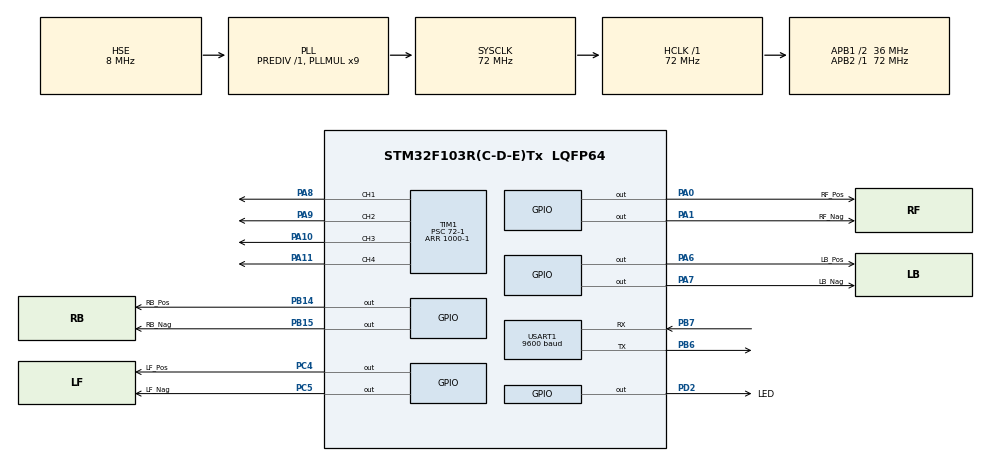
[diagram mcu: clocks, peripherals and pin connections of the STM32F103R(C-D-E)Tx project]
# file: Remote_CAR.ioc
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Mcu.Family=STM32F1
Mcu.Name=STM32F103R(C-D-E)Tx
Mcu.Package=LQFP64
NVIC.PriorityGroup=NVIC_PRIORITYGROUP_4
PA0-WKUP.GPIO_Label=RF_Pos
PA0-WKUP.Signal=GPIO_Output
PA1.GPIO_Label=RF_Nag
PA1.Signal=GPIO_Output
PA10.Signal=S_TIM1_CH3
PA11.Signal=S_TIM1_CH4
PA6.GPIO_Label=LB_Pos
PA6.Signal=GPIO_Output
PA7.GPIO_Label=LB_Nag
PA7.Signal=GPIO_Output
PA8.Signal=S_TIM1_CH1
PA9.Signal=S_TIM1_CH2
PB14.GPIO_Label=RB_Pos
PB14.Signal=GPIO_Output
PB15.GPIO_Label=RB_Nag
PB15.Signal=GPIO_Output
PB6.Mode=Asynchronous
PB6.Signal=USART1_TX
PB7.Mode=Asynchronous
PB7.Signal=USART1_RX
PC4.GPIO_Label=LF_Pos
PC4.Signal=GPIO_Output
PC5.GPIO_Label=LF_Nag
PC5.Signal=GPIO_Output
PD0-OSC_IN.Mode=HSE-External-Oscillator
PD0-OSC_IN.Signal=RCC_OSC_IN
PD1-OSC_OUT.Mode=HSE-External-Oscillator
PD1-OSC_OUT.Signal=RCC_OSC_OUT
PD2.GPIO_Label=LED
PD2.Signal=GPIO_Output
ProjectManager.HeapSize=0x200
ProjectManager.StackSize=0x400
ProjectManager.TargetToolchain=STM32CubeIDE
RCC.AHBFreq_Value=72000000
RCC.APB1CLKDivider=RCC_HCLK_DIV2
RCC.APB1Freq_Value=36000000
RCC.APB1TimFreq_Value=72000000
RCC.APB2Freq_Value=72000000
RCC.APB2TimFreq_Value=72000000
RCC.HCLKFreq_Value=72000000
RCC.PLLMUL=RCC_PLL_MUL9
RCC.PLLSourceVirtual=RCC_PLLSOURCE_HSE
RCC.SYSCLKFreq_VALUE=72000000
RCC.SYSCLKSource=RCC_SYSCLKSOURCE_PLLCLK
RCC.USBFreq_Value=72000000
SH.S_TIM1_CH1.0=TIM1_CH1,PWM Generation1 CH1
SH.S_TIM1_CH2.0=TIM1_CH2,PWM Generation2 CH2
SH.S_TIM1_CH3.0=TIM1_CH3,PWM Generation3 CH3
SH.S_TIM1_CH4.0=TIM1_CH4,PWM Generation4 CH4
TIM1.Channel-PWM\ Generation1\ CH1=TIM_CHANNEL_1
TIM1.Channel-PWM\ Generation2\ CH2=TIM_CHANNEL_2
TIM1.Channel-PWM\ Generation3\ CH3=TIM_CHANNEL_3
TIM1.Channel-PWM\ Generation4\ CH4=TIM_CHANNEL_4
TIM1.Period=1000-1
TIM1.Prescaler=72-1
TIM1.Pulse-PWM\ Generation1\ CH1=500
TIM1.Pulse-PWM\ Generation2\ CH2=500
TIM1.Pulse-PWM\ Generation3\ CH3=500
TIM1.Pulse-PWM\ Generation4\ CH4=500
USART1.BaudRate=9600
USART1.VirtualMode=VM_ASYNC
VP_SYS_VS_ND.Mode=No_Debug
board=custom

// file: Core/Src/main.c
/* USER CODE BEGIN Header */
/**
  ******************************************************************************
  * @file           : main.c
  * @brief          : Main program body
  ******************************************************************************
  * @attention
  *
  * <h2><center>&copy; Copyright (c) 2021 STMicroelectronics.
  * All rights reserved.</center></h2>
  *
  * This software component is licensed by ST under BSD 3-Clause license,
  * the "License"; You may not use this file except in compliance with the
  * License. You may obtain a copy of the License at:
  *                        opensource.org/licenses/BSD-3-Clause
  *
  ******************************************************************************
  */
/* USER CODE END Header */
#include "main.h"

TIM_HandleTypeDef htim1;

UART_HandleTypeDef huart1;

void SystemClock_Config(void);
static void MX_GPIO_Init(void);
static void MX_TIM1_Init(void);
static void MX_USART1_UART_Init(void);

int main(void)
{
  /* USER CODE BEGIN 1 */
	uint8_t Signal, i, Forward_ON;
	uint16_t PWM[4];

  /* USER CODE END 1 */

  /* MCU Configuration--------------------------------------------------------*/

  /* Reset of all peripherals, Initializes the Flash interface and the Systick. */
  HAL_Init();

  /* Configure the system clock */
  SystemClock_Config();

  /* Initialize all configured peripherals */
  MX_GPIO_Init();
  MX_TIM1_Init();
  MX_USART1_UART_Init();
  /* USER CODE BEGIN 2 */

  Forward_ON = 1;

  HAL_GPIO_WritePin(RF_Pos_GPIO_Port, RF_Pos_Pin, 0);
  HAL_GPIO_WritePin(RF_Nag_GPIO_Port, RF_Nag_Pin, 0);
  HAL_GPIO_WritePin(LF_Pos_GPIO_Port, LF_Pos_Pin, 0);
  HAL_GPIO_WritePin(LF_Nag_GPIO_Port, LF_Nag_Pin, 0);
  HAL_GPIO_WritePin(RB_Pos_GPIO_Port, RB_Pos_Pin, 0);
  HAL_GPIO_WritePin(RB_Nag_GPIO_Port, RB_Nag_Pin, 0);
  HAL_GPIO_WritePin(LB_Pos_GPIO_Port, LB_Pos_Pin, 0);
  HAL_GPIO_WritePin(LB_Nag_GPIO_Port, LB_Nag_Pin, 0);

  HAL_TIM_PWM_Start(&htim1, TIM_CHANNEL_1);
  HAL_TIM_PWM_Start(&htim1, TIM_CHANNEL_2);
  HAL_TIM_PWM_Start(&htim1, TIM_CHANNEL_3);
  HAL_TIM_PWM_Start(&htim1, TIM_CHANNEL_4);

  PWM[0] = PWM[1] = PWM[2] = PWM[3] = 0;

  HAL_UART_Transmit(&huart1, "I am ok\r\n", 9, 100);

  /* USER CODE END 2 */

  /* Infinite loop */
  while (1)
  {

    /* USER CODE BEGIN 3 */
//	  HAL_GPIO_WritePin(LF_Nag_GPIO_Port, LF_Nag_Pin, 1);

	  HAL_Delay(5);
	  __HAL_TIM_SET_COMPARE(&htim1, TIM_CHANNEL_1, PWM[0]);
	  __HAL_TIM_SET_COMPARE(&htim1, TIM_CHANNEL_2, PWM[1]);
	  __HAL_TIM_SET_COMPARE(&htim1, TIM_CHANNEL_3, PWM[2]);
	  __HAL_TIM_SET_COMPARE(&htim1, TIM_CHANNEL_4, PWM[3]);

//	  HAL_GPIO_TogglePin(LED_GPIO_Port, LED_Pin);
//	  HAL_Delay(1000);

	  if(HAL_UART_Receive(&huart1, &Signal, 1, HAL_MAX_DELAY) == HAL_OK)
	  {
		  HAL_UART_Transmit(&huart1, &Signal, 1, HAL_MAX_DELAY);

		  /*Forward*/
		  if(Signal == 70)
		  {
			  HAL_GPIO_WritePin(RF_Pos_GPIO_Port, RF_Pos_Pin, 0);
			  HAL_GPIO_WritePin(RF_Nag_GPIO_Port, RF_Nag_Pin, 1);
			  HAL_GPIO_WritePin(LF_Pos_GPIO_Port, LF_Pos_Pin, 0);
			  HAL_GPIO_WritePin(LF_Nag_GPIO_Port, LF_Nag_Pin, 1);
			  HAL_GPIO_WritePin(RB_Pos_GPIO_Port, RB_Pos_Pin, 0);
			  HAL_GPIO_WritePin(RB_Nag_GPIO_Port, RB_Nag_Pin, 1);
			  HAL_GPIO_WritePin(LB_Pos_GPIO_Port, LB_Pos_Pin, 0);
			  HAL_GPIO_WritePin(LB_Nag_GPIO_Port, LB_Nag_Pin, 1);

			  Forward_ON = 2;
		  }

		  /*Back*/
		  else if(Signal == 66)
		  {
			  Forward_ON = 0;
			  for(i = 0; i < 4; i++)
			  {
				  PWM[i] = 500;
			  }
			  HAL_GPIO_WritePin(RF_Pos_GPIO_Port, RF_Pos_Pin, 1);
			  HAL_GPIO_WritePin(RF_Nag_GPIO_Port, RF_Nag_Pin, 0);
			  HAL_GPIO_WritePin(LF_Pos_GPIO_Port, LF_Pos_Pin, 1);
			  HAL_GPIO_WritePin(LF_Nag_GPIO_Port, LF_Nag_Pin, 0);
			  HAL_GPIO_WritePin(RB_Pos_GPIO_Port, RB_Pos_Pin, 1);
			  HAL_GPIO_WritePin(RB_Nag_GPIO_Port, RB_Nag_Pin, 0);
			  HAL_GPIO_WritePin(LB_Pos_GPIO_Port, LB_Pos_Pin, 1);
			  HAL_GPIO_WritePin(LB_Nag_GPIO_Port, LB_Nag_Pin, 0);

		  }

		  /*Left*/
		  else if(Signal == 76)
		  {
			  Forward_ON = 1;
			  HAL_GPIO_WritePin(RF_Pos_GPIO_Port, RF_Pos_Pin, 0);
			  HAL_GPIO_WritePin(RF_Nag_GPIO_Port, RF_Nag_Pin, 1);
			  HAL_GPIO_WritePin(LF_Pos_GPIO_Port, RF_Pos_Pin, 0);
			  HAL_GPIO_WritePin(LF_Nag_GPIO_Port, RF_Nag_Pin, 1);
			  HAL_GPIO_WritePin(RB_Pos_GPIO_Port, RB_Pos_Pin, 0);
			  HAL_GPIO_WritePin(RB_Nag_GPIO_Port, RB_Nag_Pin, 1);
			  HAL_GPIO_WritePin(LB_Pos_GPIO_Port, LB_Pos_Pin, 0);
			  HAL_GPIO_WritePin(LB_Nag_GPIO_Port, LB_Nag_Pin, 1);

			  PWM[0] = PWM[3] = 900;
			  PWM[1] = PWM[2] = 400;
		  }

		  /*Right*/
		  else if(Signal == 82)
		  {
			  Forward_ON = 1;
			  HAL_GPIO_WritePin(RF_Pos_GPIO_Port, RF_Pos_Pin, 0);
			  HAL_GPIO_WritePin(RF_Nag_GPIO_Port, RF_Nag_Pin, 1);
			  HAL_GPIO_WritePin(LF_Pos_GPIO_Port, LF_Pos_Pin, 0);
			  HAL_GPIO_WritePin(LF_Nag_GPIO_Port, LF_Nag_Pin, 1);
			  HAL_GPIO_WritePin(RB_Pos_GPIO_Port, RB_Pos_Pin, 0);
			  HAL_GPIO_WritePin(RB_Nag_GPIO_Port, RB_Nag_Pin, 1);
			  HAL_GPIO_WritePin(LB_Pos_GPIO_Port, LB_Pos_Pin, 0);
			  HAL_GPIO_WritePin(LB_Nag_GPIO_Port, LB_Nag_Pin, 1);

			  PWM[0] = PWM[3] = 400;
			  PWM[1] = PWM[2] = 900;
		  }

		  else if(Signal == 80)
		  {
			  Forward_ON = 1;
			  HAL_GPIO_WritePin(RF_Pos_GPIO_Port, RF_Pos_Pin, 0);
			  HAL_GPIO_WritePin(RF_Nag_GPIO_Port, RF_Nag_Pin, 0);
			  HAL_GPIO_WritePin(LF_Pos_GPIO_Port, LF_Pos_Pin, 0);
			  HAL_GPIO_WritePin(LF_Nag_GPIO_Port, LF_Nag_Pin, 0);
			  HAL_GPIO_WritePin(RB_Pos_GPIO_Port, RB_Pos_Pin, 0);
			  HAL_GPIO_WritePin(RB_Nag_GPIO_Port, RB_Nag_Pin, 0);
			  HAL_GPIO_WritePin(LB_Pos_GPIO_Port, LB_Pos_Pin, 0);
			  HAL_GPIO_WritePin(LB_Nag_GPIO_Port, LB_Nag_Pin, 0);
		  }

		  else if(Signal == 49)
		  {
			  for(i = 0; i < 4; i++)
			  {
				  PWM[i] = 500;
			  }
		  }

		  else if(Signal == 50)
		  {
			  if(Forward_ON == 2)
			  {
				  for(i = 0; i < 4; i++)
				  {
					  PWM[i] = 600;
				  }
			  }
		  }

		  else if(Signal == 51)
		  {
			  if(Forward_ON == 2)
			  {
				  for(i = 0; i < 4; i++)
				  {
					  PWM[i] = 700;
				  }
			  }
		  }

		  else if(Signal == 52)
		  {
			  if(Forward_ON == 2)
			  {
				  for(i = 0; i < 4; i++)
				  {
					  PWM[i] = 800;
				  }
			  }
		  }

		  else if(Signal == 53)
		  {
			  if(Forward_ON == 2)
			  {
				  for(i = 0; i < 4; i++)
				  {
					  PWM[i] = 900;
				  }
			  }
		  }

		  else if(Signal == 54)
		  {
			  if(Forward_ON == 2)
			  {
				  for(i = 0; i < 4; i++)
				  {
					  PWM[i] = 999;
				  }
			  }
		  }

	  }

  }
  /* USER CODE END 3 */
}

void SystemClock_Config(void)
{
  RCC_OscInitTypeDef RCC_OscInitStruct = {0};
  RCC_ClkInitTypeDef RCC_ClkInitStruct = {0};

  /** Initializes the RCC Oscillators according to the specified parameters
  * in the RCC_OscInitTypeDef structure.
  */
  RCC_OscInitStruct.OscillatorType = RCC_OSCILLATORTYPE_HSE;
  RCC_OscInitStruct.HSEState = RCC_HSE_ON;
  RCC_OscInitStruct.HSEPredivValue = RCC_HSE_PREDIV_DIV1;
  RCC_OscInitStruct.HSIState = RCC_HSI_ON;
  RCC_OscInitStruct.PLL.PLLState = RCC_PLL_ON;
  RCC_OscInitStruct.PLL.PLLSource = RCC_PLLSOURCE_HSE;
  RCC_OscInitStruct.PLL.PLLMUL = RCC_PLL_MUL9;
  if (HAL_RCC_OscConfig(&RCC_OscInitStruct) != HAL_OK)
  {
    Error_Handler();
  }
  /** Initializes the CPU, AHB and APB buses clocks
  */
  RCC_ClkInitStruct.ClockType = RCC_CLOCKTYPE_HCLK|RCC_CLOCKTYPE_SYSCLK
                              |RCC_CLOCKTYPE_PCLK1|RCC_CLOCKTYPE_PCLK2;
  RCC_ClkInitStruct.SYSCLKSource = RCC_SYSCLKSOURCE_PLLCLK;
  RCC_ClkInitStruct.AHBCLKDivider = RCC_SYSCLK_DIV1;
  RCC_ClkInitStruct.APB1CLKDivider = RCC_HCLK_DIV2;
  RCC_ClkInitStruct.APB2CLKDivider = RCC_HCLK_DIV1;

  if (HAL_RCC_ClockConfig(&RCC_ClkInitStruct, FLASH_LATENCY_2) != HAL_OK)
  {
    Error_Handler();
  }
}

static void MX_TIM1_Init(void)
{

  TIM_MasterConfigTypeDef sMasterConfig = {0};
  TIM_OC_InitTypeDef sConfigOC = {0};
  TIM_BreakDeadTimeConfigTypeDef sBreakDeadTimeConfig = {0};

  htim1.Instance = TIM1;
  htim1.Init.Prescaler = 72-1;
  htim1.Init.CounterMode = TIM_COUNTERMODE_UP;
  htim1.Init.Period = 1000-1;
  htim1.Init.ClockDivision = TIM_CLOCKDIVISION_DIV1;
  htim1.Init.RepetitionCounter = 0;
  htim1.Init.AutoReloadPreload = TIM_AUTORELOAD_PRELOAD_DISABLE;
  if (HAL_TIM_PWM_Init(&htim1) != HAL_OK)
  {
    Error_Handler();
  }
  sMasterConfig.MasterOutputTrigger = TIM_TRGO_RESET;
  sMasterConfig.MasterSlaveMode = TIM_MASTERSLAVEMODE_DISABLE;
  if (HAL_TIMEx_MasterConfigSynchronization(&htim1, &sMasterConfig) != HAL_OK)
  {
    Error_Handler();
  }
  sConfigOC.OCMode = TIM_OCMODE_PWM1;
  sConfigOC.Pulse = 500;
  sConfigOC.OCPolarity = TIM_OCPOLARITY_HIGH;
  sConfigOC.OCNPolarity = TIM_OCNPOLARITY_HIGH;
  sConfigOC.OCFastMode = TIM_OCFAST_DISABLE;
  sConfigOC.OCIdleState = TIM_OCIDLESTATE_RESET;
  sConfigOC.OCNIdleState = TIM_OCNIDLESTATE_RESET;
  if (HAL_TIM_PWM_ConfigChannel(&htim1, &sConfigOC, TIM_CHANNEL_1) != HAL_OK)
  {
    Error_Handler();
  }
  if (HAL_TIM_PWM_ConfigChannel(&htim1, &sConfigOC, TIM_CHANNEL_2) != HAL_OK)
  {
    Error_Handler();
  }
  if (HAL_TIM_PWM_ConfigChannel(&htim1, &sConfigOC, TIM_CHANNEL_3) != HAL_OK)
  {
    Error_Handler();
  }
  if (HAL_TIM_PWM_ConfigChannel(&htim1, &sConfigOC, TIM_CHANNEL_4) != HAL_OK)
  {
    Error_Handler();
  }
  sBreakDeadTimeConfig.OffStateRunMode = TIM_OSSR_DISABLE;
  sBreakDeadTimeConfig.OffStateIDLEMode = TIM_OSSI_DISABLE;
  sBreakDeadTimeConfig.LockLevel = TIM_LOCKLEVEL_OFF;
  sBreakDeadTimeConfig.DeadTime = 0;
  sBreakDeadTimeConfig.BreakState = TIM_BREAK_DISABLE;
  sBreakDeadTimeConfig.BreakPolarity = TIM_BREAKPOLARITY_HIGH;
  sBreakDeadTimeConfig.AutomaticOutput = TIM_AUTOMATICOUTPUT_DISABLE;
  if (HAL_TIMEx_ConfigBreakDeadTime(&htim1, &sBreakDeadTimeConfig) != HAL_OK)
  {
    Error_Handler();
  }
  HAL_TIM_MspPostInit(&htim1);

}

static void MX_USART1_UART_Init(void)
{

  huart1.Instance = USART1;
  huart1.Init.BaudRate = 9600;
  huart1.Init.WordLength = UART_WORDLENGTH_8B;
  huart1.Init.StopBits = UART_STOPBITS_1;
  huart1.Init.Parity = UART_PARITY_NONE;
  huart1.Init.Mode = UART_MODE_TX_RX;
  huart1.Init.HwFlowCtl = UART_HWCONTROL_NONE;
  huart1.Init.OverSampling = UART_OVERSAMPLING_16;
  if (HAL_UART_Init(&huart1) != HAL_OK)
  {
    Error_Handler();
  }

}

static void MX_GPIO_Init(void)
{
  GPIO_InitTypeDef GPIO_InitStruct = {0};

  /* GPIO Ports Clock Enable */
  __HAL_RCC_GPIOD_CLK_ENABLE();
  __HAL_RCC_GPIOA_CLK_ENABLE();
  __HAL_RCC_GPIOC_CLK_ENABLE();
  __HAL_RCC_GPIOB_CLK_ENABLE();

  /*Configure GPIO pin Output Level */
  HAL_GPIO_WritePin(GPIOA, RF_Pos_Pin|RF_Nag_Pin|LB_Pos_Pin|LB_Nag_Pin, GPIO_PIN_RESET);

  /*Configure GPIO pin Output Level */
  HAL_GPIO_WritePin(GPIOC, LF_Pos_Pin|LF_Nag_Pin, GPIO_PIN_RESET);

  /*Configure GPIO pin Output Level */
  HAL_GPIO_WritePin(GPIOB, RB_Pos_Pin|RB_Nag_Pin, GPIO_PIN_RESET);

  /*Configure GPIO pin Output Level */
  HAL_GPIO_WritePin(LED_GPIO_Port, LED_Pin, GPIO_PIN_RESET);

  /*Configure GPIO pins : RF_Pos_Pin RF_Nag_Pin LB_Pos_Pin LB_Nag_Pin */
  GPIO_InitStruct.Pin = RF_Pos_Pin|RF_Nag_Pin|LB_Pos_Pin|LB_Nag_Pin;
  GPIO_InitStruct.Mode = GPIO_MODE_OUTPUT_PP;
  GPIO_InitStruct.Pull = GPIO_NOPULL;
  GPIO_InitStruct.Speed = GPIO_SPEED_FREQ_LOW;
  HAL_GPIO_Init(GPIOA, &GPIO_InitStruct);

  /*Configure GPIO pins : LF_Pos_Pin LF_Nag_Pin */
  GPIO_InitStruct.Pin = LF_Pos_Pin|LF_Nag_Pin;
  GPIO_InitStruct.Mode = GPIO_MODE_OUTPUT_PP;
  GPIO_InitStruct.Pull = GPIO_NOPULL;
  GPIO_InitStruct.Speed = GPIO_SPEED_FREQ_LOW;
  HAL_GPIO_Init(GPIOC, &GPIO_InitStruct);

  /*Configure GPIO pins : RB_Pos_Pin RB_Nag_Pin */
  GPIO_InitStruct.Pin = RB_Pos_Pin|RB_Nag_Pin;
  GPIO_InitStruct.Mode = GPIO_MODE_OUTPUT_PP;
  GPIO_InitStruct.Pull = GPIO_NOPULL;
  GPIO_InitStruct.Speed = GPIO_SPEED_FREQ_LOW;
  HAL_GPIO_Init(GPIOB, &GPIO_InitStruct);

  /*Configure GPIO pin : LED_Pin */
  GPIO_InitStruct.Pin = LED_Pin;
  GPIO_InitStruct.Mode = GPIO_MODE_OUTPUT_PP;
  GPIO_InitStruct.Pull = GPIO_NOPULL;
  GPIO_InitStruct.Speed = GPIO_SPEED_FREQ_LOW;
  HAL_GPIO_Init(LED_GPIO_Port, &GPIO_InitStruct);

}

void Error_Handler(void)
{
  __disable_irq();
  while (1)
  {
  }
}

/************************ (C) COPYRIGHT STMicroelectronics *****END OF FILE****/
